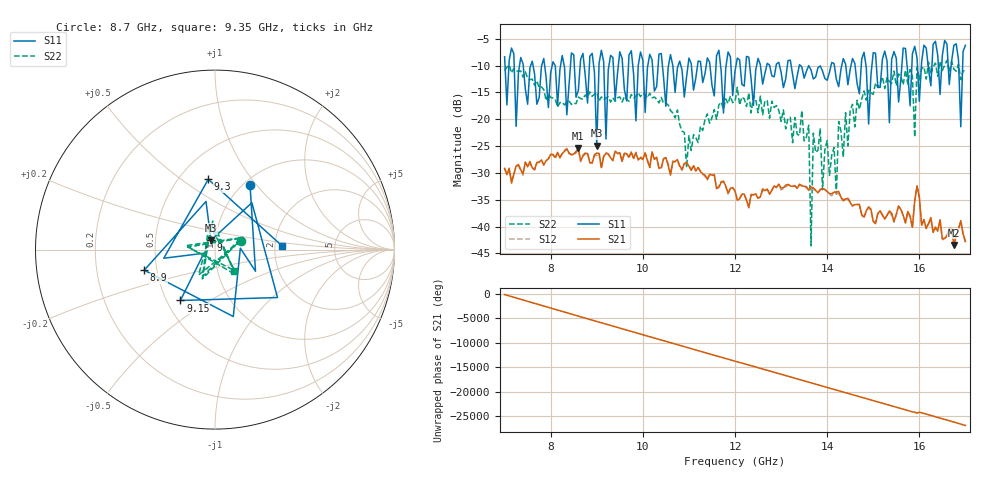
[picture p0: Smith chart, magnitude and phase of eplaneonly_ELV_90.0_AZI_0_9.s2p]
! 10/29/2026 5:10:45 PM
! C:\ANRITSUVNA\TEMP\TEMP.S2P
! CHANNEL.1
! TR.MEASUREMENT
! RAW.DATA
# HZ S RI R 50.0
! FREQ.HZ  S11RE  S11IM  S21RE  S21IM  S12RE  S12IM  S22RE  S22IM
!; PortSelection: Port_12
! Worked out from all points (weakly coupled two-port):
!   201 points, 7 GHz to 17 GHz, reference 50 ohm
!   highest |S21| = -25.44 dB at 8.6 GHz (marker M1); lowest = -43.4 dB at 16.75 GHz (marker M2)
!   lowest |S11| = -24.9 dB at 9 GHz (marker M3), VSWR 1.12, Z = 47.6 + j4.98 ohm
!   |S11| at or under -10 dB: 7.404 GHz to 7.566 GHz (162.8 MHz wide, 2.17 % of centre); 7.617 GHz to 7.804 GHz (187 MHz wide, 2.43 % of centre); 13.42 GHz to 14.08 GHz (664.1 MHz wide, 4.83 % of centre) (the widest 3 of 44)
!   |S22| runs from -43.6 to -9.0 dB; largest |S21 - S12| = 0.017
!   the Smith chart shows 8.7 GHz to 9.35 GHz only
!   S11 on the Smith chart (normalised r, x): 8.7 GHz: 1.07, +0.93; 8.9 GHz: 0.42, -0.12; 9 GHz: 0.95, +0.10; 9.15 GHz: 0.59, -0.38; 9.3 GHz: 0.69, +0.64; 9.35 GHz: 2.20, +0.10
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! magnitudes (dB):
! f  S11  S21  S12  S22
! 7 GHz  -8.4  -29.2  -29.0  -10.9
! 8.6 GHz  -14.7  -25.4  -25.6  -15.9
! 8.7 GHz  -7.7  -26.9  -26.6  -16.3
! 8.9 GHz  -7.7  -28.2  -28.1  -15.7
! 9 GHz  -24.9  -26.3  -26.8  -15.0
! 9.15 GHz  -9.3  -27.0  -26.8  -16.4
! 9.2 GHz  -23.7  -26.3  -26.2  -16.0
! 9.3 GHz  -8.1  -27.2  -27.0  -16.8
! 9.35 GHz  -8.5  -27.7  -27.8  -16.0
! 10.35 GHz  -7.9  -29.1  -29.1  -17.0
! 12 GHz  -11.0  -33.3  -33.4  -16.7
! 13.45 GHz  -10.2  -32.4  -32.3  -18.4
! 13.6 GHz  -10.0  -33.2  -33.3  -21.1
! 13.65 GHz  -10.8  -32.6  -32.9  -43.6
! 13.7 GHz  -12.5  -32.8  -33.1  -22.6
! 14.2 GHz  -12.6  -33.6  -33.9  -33.9
! 14.25 GHz  -13.9  -33.5  -33.9  -20.4
! 15.25 GHz  -7.3  -38.6  -38.6  -14.3
! 15.35 GHz  -20.6  -37.1  -37.4  -12.9
! 16.75 GHz  -6.2  -43.4  -43.7  -10.6
! 16.9 GHz  -21.4  -38.9  -38.9  -12.6
! 17 GHz  -6.2  -42.8  -42.9  -10.9
